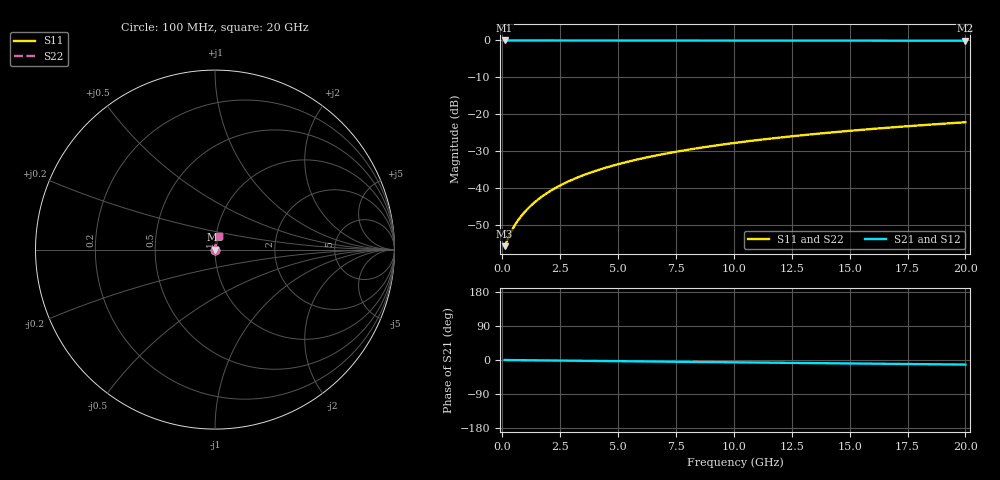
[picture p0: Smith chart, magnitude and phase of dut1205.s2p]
! Touchstone file exported from HFSS 2026.1.0
!  File:  C:/ffzhzh/LocalFiles/Ansys_Project_Files/temp_train_TMRDL_1205_1783163048_43440.aedt
!  Generated:  07:05:19 PM Jul  4, 2026
!  Design:  TMRDL
!  Project:  temp_train_TMRDL_1205_1783163048_43440
! Variables:
!  h_bsmrdl = 2um
!  h_ox = 20um
!  h_rdl = 5um
!  h_sub = 80um
!  h_tmrdl = 3.26um
!  h_tsv = 80um
!  h_via = 3um
!  l_bsmrdl = 300um
!  l_sub = 588.04um
!  l_tmrdl = 188.04um
!  m_sub = 200um
!  pitch = 23.79um
!  r_tsv = 6um
!  s_tmrdl = 10um
!  w_bsmrdl = 18um
!  w_sub = 500um
!  w_tmrdl = 15.2um
!  x_tsv_center1 = 195.64um
!  x_tsv_center2 = 513.64um
!  x_tsv_center3 = 716.88um
!  x_tsv_center4 = 1034.88um
!  x_tsv_center5 = 1238.12um
!  x_tsv_center6 = 1556.12um
# GHz S MA R 50.000000
! Terminal data exported
! Port[1] = TM_RDL1_1_T1
! Port[2] = TM_RDL1_1_T2
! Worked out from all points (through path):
!   200 points, 100 MHz to 20 GHz, reference 50 ohm
!   highest |S21| = -0.01 dB at 100 MHz (marker M1); lowest = -0.1 dB at 20 GHz (marker M2)
!   group delay of S21, straight-line fit = 1.67 ps
!   lowest |S11| = -55.7 dB at 100 MHz (marker M3), VSWR 1.00, Z = 50.2 + j0.0525 ohm
!   |S11| at or under -10 dB: start of sweep to end of sweep
!   |S22| runs from -55.7 to -22.2 dB; largest |S21 - S12| = 3.6e-15
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0.1  0.001634 18.7  0.9985 -0.1  0.9985 -0.1  0.001634 18.7
! Gamma 0 0 0 0
! Port Impedance 50 0 50 0
0.4  0.002617 48.1  0.9983 -0.3  0.9983 -0.3  0.002617 48.1
0.6  0.003362 56.1  0.9981 -0.4  0.9981 -0.4  0.003362 56.1
0.7  0.003735 59.0  0.9981 -0.5  0.9981 -0.5  0.003735 59.0
0.9  0.004489 63.4  0.998 -0.6  0.998 -0.6  0.004489 63.4
1.1  0.005254 66.7  0.998 -0.7  0.998 -0.7  0.005254 66.7
1.3  0.006033 69.3  0.9979 -0.8  0.9979 -0.8  0.006033 69.3
1.5  0.006822 71.2  0.9979 -0.9  0.9979 -0.9  0.006822 71.2
1.8  0.008021 73.4  0.9978 -1.1  0.9978 -1.1  0.008021 73.4
2.3  0.01004 75.8  0.9977 -1.4  0.9977 -1.4  0.01004 75.8
2.9  0.01249 77.5  0.9976 -1.8  0.9976 -1.8  0.01249 77.5
3.5  0.01494 78.4  0.9975 -2.2  0.9975 -2.2  0.01494 78.4
4.2  0.0178 79.0  0.9973 -2.6  0.9973 -2.6  0.0178 79.0
5  0.02105 79.3  0.997 -3.1  0.997 -3.1  0.02105 79.3
5.9  0.02467 79.4  0.9967 -3.6  0.9967 -3.6  0.02467 79.4
6.8  0.02826 79.2  0.9964 -4.2  0.9964 -4.2  0.02826 79.2
8.3  0.03417 78.8  0.9958 -5.1  0.9958 -5.1  0.03417 78.8
10.1  0.04114 78.0  0.995 -6.2  0.995 -6.2  0.04114 78.0
11.7  0.04725 77.3  0.9943 -7.1  0.9943 -7.1  0.04725 77.3
13.4  0.05365 76.5  0.9936 -8.2  0.9936 -8.2  0.05365 76.5
16.7  0.06589 75.0  0.9922 -10.1  0.9922 -10.1  0.06589 75.0
20  0.07793 73.3  0.9907 -12.1  0.9907 -12.1  0.07792 73.3
